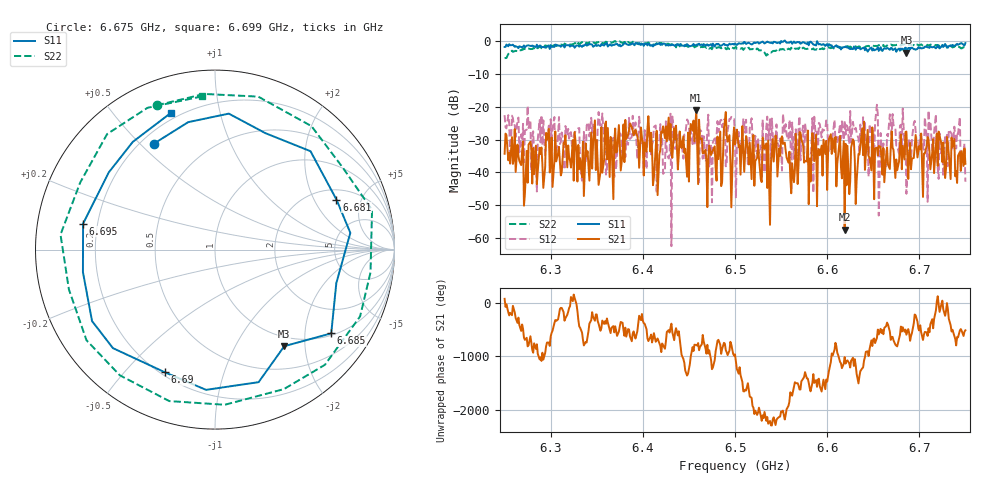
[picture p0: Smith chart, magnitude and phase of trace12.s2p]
# Hz S RI R 50
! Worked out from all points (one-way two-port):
!   401 points, 6.25 GHz to 6.75 GHz, reference 50 ohm
!   highest |S21| = -21.06 dB at 6.458 GHz (marker M1); lowest = -57.4 dB at 6.619 GHz (marker M2)
!   lowest |S11| = -3.6 dB at 6.686 GHz (marker M3), VSWR 4.92, Z = 42.1 - j80.7 ohm
!   |S11| at or under -10 dB: nowhere
!   |S22| runs from -5.3 to -0.1 dB; largest |S21 - S12| = 0.12
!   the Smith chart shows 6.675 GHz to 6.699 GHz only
!   S11 on the Smith chart (normalised r, x): 6.675 GHz: 0.25, +0.55; 6.681 GHz: 2.55, +3.06; 6.685 GHz: 1.06, -2.73; 6.69 GHz: 0.22, -0.65; 6.695 GHz: 0.14, +0.10; 6.699 GHz: 0.17, +0.71
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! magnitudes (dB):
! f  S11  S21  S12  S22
! 6.25 GHz  -1.9  -34.3  -22.6  -5.3
! 6.334 GHz  -1.8  -41.4  -42.5  -0.4
! 6.354 GHz  -1.6  -39.9  -26.8  -0.1
! 6.384 GHz  -1.3  -28.5  -31.6  -0.4
! 6.418 GHz  -0.8  -34.4  -30.2  -0.6
! 6.458 GHz  -1.3  -21.1  -25.8  -1.7
! 6.5 GHz  -0.8  -31.4  -28.7  -2.1
! 6.538 GHz  -0.6  -55.9  -23.8  -3.5
! 6.542 GHz  -0.3  -36.7  -29.6  -3.1
! 6.584 GHz  -0.8  -28.1  -23.5  -2.5
! 6.619 GHz  -1.9  -57.4  -24.2  -2.0
! 6.659 GHz  -2.9  -35.7  -32.9  -1.4
! 6.668 GHz  -2.7  -39.0  -22.4  -1.3
! 6.675 GHz  -3.3  -36.1  -31.8  -1.2
! 6.681 GHz  -2.7  -39.0  -32.8  -0.9
! 6.685 GHz  -2.0  -27.7  -30.1  -1.0
! 6.686 GHz  -3.6  -27.6  -46.5  -1.2
! 6.69 GHz  -2.6  -31.1  -31.6  -1.1
! 6.695 GHz  -2.5  -32.2  -24.3  -1.5
! 6.699 GHz  -1.9  -33.7  -33.3  -1.3
! 6.741 GHz  -0.9  -43.2  -27.8  -1.8
! 6.75 GHz  -0.7  -37.4  -42.8  -2.5
